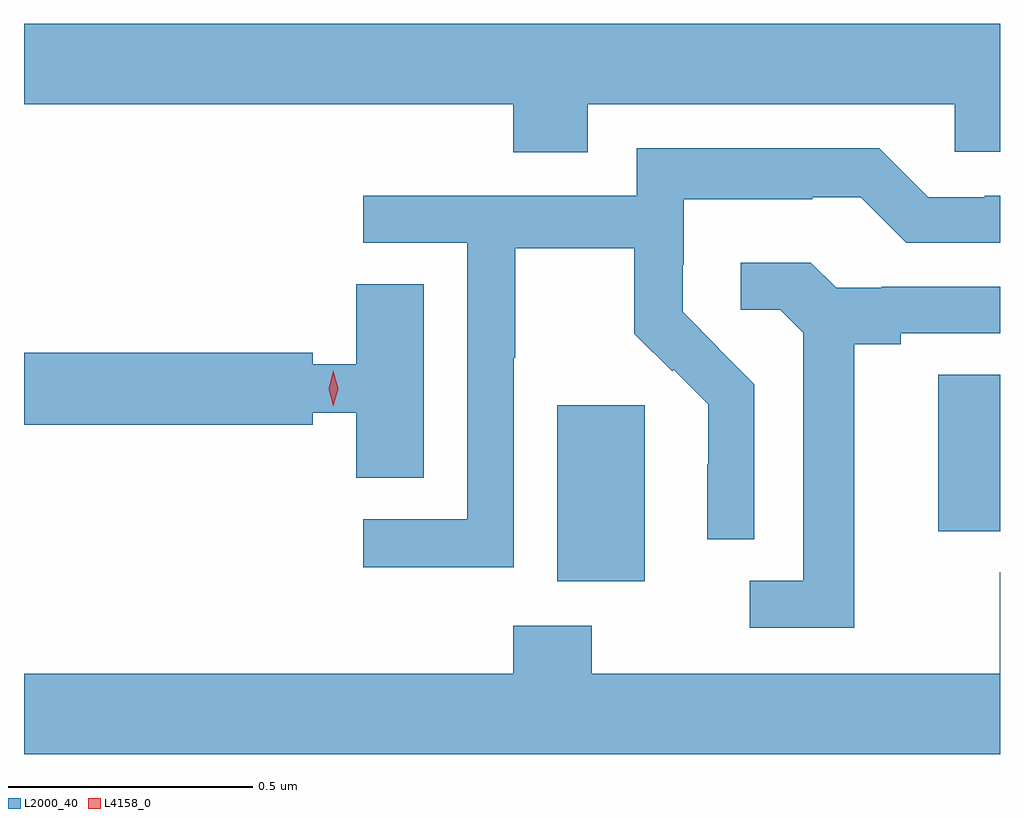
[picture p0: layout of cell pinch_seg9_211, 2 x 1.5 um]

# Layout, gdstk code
import gdstk
lib = gdstk.Library(unit=1e-6, precision=1e-09)
def R(c, l, rs):  # rectangles x0, y0, x1, y1
    for r in rs: c.add(gdstk.rectangle(r[:2], r[2:], *l))
def P(c, l, *ps):  # polygons
    for p in ps: c.add(gdstk.Polygon(p, *l))
L2000_40 = (2000, 40)
L4158_0 = (4158, 0)

pinch_seg9_211 = lib.new_cell('pinch_seg9_211')
R(pinch_seg9_211, L2000_40, [(598.889,1224.746,599.068,1225.107), (599.669,1224.849,599.796,1225.169)])
P(pinch_seg9_211, L2000_40, [(598.951,1225.724),(599.703,1225.724),(599.703,1225.626),(599.796,1225.626),(599.796,1225.888),(597.796,1225.888),(597.796,1225.724),(598.799,1225.724),(598.799,1225.625),(598.951,1225.625)],
  [(598.8,1225.204),(598.803,1225.204),(598.803,1225.428),(599.047,1225.428),(599.047,1225.253),(599.124,1225.176),(599.127,1225.179),(599.198,1225.109),(599.198,1224.986),(599.196,1224.986),(599.196,1224.832),(599.292,1224.832),(599.292,1225.15),(599.219,1225.223),(599.22,1225.224),(599.146,1225.298),(599.146,1225.395),(599.148,1225.395),(599.148,1225.529),(599.411,1225.529),(599.411,1225.533),(599.511,1225.533),(599.604,1225.44),(599.796,1225.44),(599.796,1225.536),(599.765,1225.536),(599.765,1225.533),(599.649,1225.533),(599.549,1225.633),(599.052,1225.633),(599.052,1225.536),(598.491,1225.536),(598.491,1225.44),(598.704,1225.44),(598.704,1224.873),(598.491,1224.873),(598.491,1224.775),(598.8,1224.775)],
  [(599.497,1225.232),(599.593,1225.232),(599.593,1225.254),(599.796,1225.254),(599.796,1225.35),(599.554,1225.35),(599.554,1225.347),(599.46,1225.347),(599.408,1225.399),(599.265,1225.399),(599.265,1225.302),(599.346,1225.302),(599.393,1225.255),(599.393,1224.747),(599.283,1224.747),(599.283,1224.651),(599.497,1224.651)],
  [(598.615,1225.355),(598.477,1225.355),(598.477,1225.191),(598.388,1225.191),(598.388,1225.214),(597.796,1225.214),(597.796,1225.067),(598.388,1225.067),(598.388,1225.091),(598.477,1225.091),(598.477,1224.958),(598.615,1224.958)],
  [(599.796,1224.764),(599.795,1224.764),(599.795,1224.556),(598.959,1224.556),(598.959,1224.655),(598.799,1224.655),(598.799,1224.556),(597.796,1224.556),(597.796,1224.392),(599.796,1224.392)])
P(pinch_seg9_211, L4158_0, [(598.43,1225.106),(598.43,1225.106),(598.42,1225.141),(598.43,1225.176),(598.43,1225.177),(598.43,1225.176),(598.44,1225.141),(598.43,1225.106)])

lib.write_gds('pinch_seg9_211.gds')
